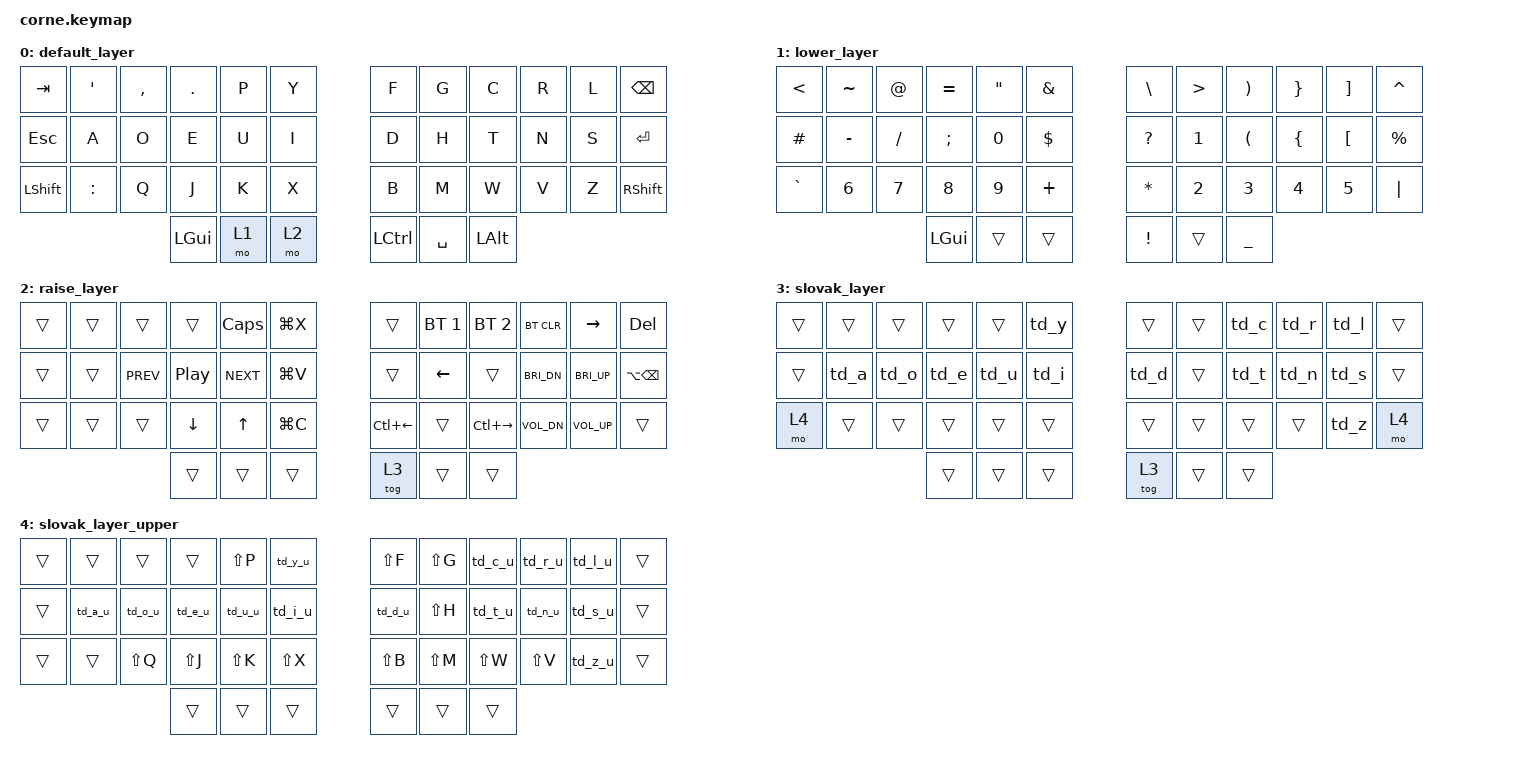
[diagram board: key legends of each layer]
#include <behaviors.dtsi>
#include <dt-bindings/zmk/keys.h>
#include <dt-bindings/zmk/bt.h>

/ {
    macros {
        dia_a: dia_a {
            label = "dia_a";
            compatible = "zmk,behavior-macro";
            #binding-cells = <0>;
            wait-ms = <1>;
            tap-ms = <1>;
            bindings
                = <&macro_press &kp RALT>
                , <&macro_tap &kp SQT>
                , <&macro_release &kp RALT>
                , <&macro_tap &kp A>
                ;
        };
        dia_a_u: dia_a_u {
            label = "dia_a_u";
            compatible = "zmk,behavior-macro";
            #binding-cells = <0>;
            wait-ms = <1>;
            tap-ms = <1>;
            bindings
                = <&macro_press &kp RALT>
                , <&macro_tap &kp SQT>
                , <&macro_release &kp RALT>
                , <&macro_tap &kp LS(A)>
                ;
        };
        dia_o: dia_o {
            label = "dia_o";
            compatible = "zmk,behavior-macro";
            #binding-cells = <0>;
            wait-ms = <1>;
            tap-ms = <1>;
            bindings
                = <&macro_press &kp RALT>
                , <&macro_tap &kp SQT>
                , <&macro_release &kp RALT>
                , <&macro_tap &kp O>
                ;
        };
        dia_o_u: dia_o_u {
            label = "dia_o_u";
            compatible = "zmk,behavior-macro";
            #binding-cells = <0>;
            wait-ms = <1>;
            tap-ms = <1>;
            bindings
                = <&macro_press &kp RALT>
                , <&macro_tap &kp SQT>
                , <&macro_release &kp RALT>
                , <&macro_tap &kp LS(O)>
                ;
        };
        dia_e: dia_e {
            label = "dia_e";
            compatible = "zmk,behavior-macro";
            #binding-cells = <0>;
            wait-ms = <1>;
            tap-ms = <1>;
            bindings
                = <&macro_press &kp RALT>
                , <&macro_tap &kp SQT>
                , <&macro_release &kp RALT>
                , <&macro_tap &kp E>
                ;
        };
        dia_e_u: dia_e_u {
            label = "dia_e_u";
            compatible = "zmk,behavior-macro";
            #binding-cells = <0>;
            wait-ms = <1>;
            tap-ms = <1>;
            bindings
                = <&macro_press &kp RALT>
                , <&macro_tap &kp SQT>
                , <&macro_release &kp RALT>
                , <&macro_tap &kp LS(E)>
                ;
        };
        dia_u: dia_u {
            label = "dia_u";
            compatible = "zmk,behavior-macro";
            #binding-cells = <0>;
            wait-ms = <1>;
            tap-ms = <1>;
            bindings
                = <&macro_press &kp RALT>
                , <&macro_tap &kp SQT>
                , <&macro_release &kp RALT>
                , <&macro_tap &kp U>
                ;
        };
        dia_u_u: dia_u_u {
            label = "dia_u_u";
            compatible = "zmk,behavior-macro";
            #binding-cells = <0>;
            wait-ms = <1>;
            tap-ms = <1>;
            bindings
                = <&macro_press &kp RALT>
                , <&macro_tap &kp SQT>
                , <&macro_release &kp RALT>
                , <&macro_tap &kp LS(U)>
                ;
        };
        dia_i: dia_i {
            label = "dia_i";
            compatible = "zmk,behavior-macro";
            #binding-cells = <0>;
            wait-ms = <1>;
            tap-ms = <1>;
            bindings
                = <&macro_press &kp RALT>
                , <&macro_tap &kp SQT>
                , <&macro_release &kp RALT>
                , <&macro_tap &kp I>
                ;
        };
        dia_i_u: dia_i_u {
            label = "dia_i_u";
            compatible = "zmk,behavior-macro";
            #binding-cells = <0>;
            wait-ms = <1>;
            tap-ms = <1>;
            bindings
                = <&macro_press &kp RALT>
                , <&macro_tap &kp SQT>
                , <&macro_release &kp RALT>
                , <&macro_tap &kp LS(I)>
                ;
        };
        dia_y: dia_y {
            label = "dia_y";
            compatible = "zmk,behavior-macro";
            #binding-cells = <0>;
            wait-ms = <1>;
            tap-ms = <1>;
            bindings
                = <&macro_press &kp RALT>
                , <&macro_tap &kp SQT>
                , <&macro_release &kp RALT>
                , <&macro_tap &kp Y>
                ;
        };
        dia_y_u: dia_y_u {
            label = "dia_y_u";
            compatible = "zmk,behavior-macro";
            #binding-cells = <0>;
            wait-ms = <1>;
            tap-ms = <1>;
            bindings
                = <&macro_press &kp RALT>
                , <&macro_tap &kp SQT>
                , <&macro_release &kp RALT>
                , <&macro_tap &kp LS(Y)>
                ;
        };
        dia_d: dia_d {
            label = "dia_d";
            compatible = "zmk,behavior-macro";
            #binding-cells = <0>;
            wait-ms = <1>;
            tap-ms = <1>;
            bindings
                = <&macro_press &kp RALT>
                , <&macro_tap &kp GT>
                , <&macro_release &kp RALT>
                , <&macro_tap &kp D>
                ;
        };
        dia_d_u: dia_d_u {
            label = "dia_d_u";
            compatible = "zmk,behavior-macro";
            #binding-cells = <0>;
            wait-ms = <1>;
            tap-ms = <1>;
            bindings
                = <&macro_press &kp RALT>
                , <&macro_tap &kp GT>
                , <&macro_release &kp RALT>
                , <&macro_tap &kp LS(D)>
                ;
        };
        dia_c: dia_c {
            label = "dia_c";
            compatible = "zmk,behavior-macro";
            #binding-cells = <0>;
            wait-ms = <1>;
            tap-ms = <1>;
            bindings
                = <&macro_press &kp RALT>
                , <&macro_tap &kp GT>
                , <&macro_release &kp RALT>
                , <&macro_tap &kp C>
                ;
        };
        dia_c_u: dia_c_u {
            label = "dia_c_u";
            compatible = "zmk,behavior-macro";
            #binding-cells = <0>;
            wait-ms = <1>;
            tap-ms = <1>;
            bindings
                = <&macro_press &kp RALT>
                , <&macro_tap &kp GT>
                , <&macro_release &kp RALT>
                , <&macro_tap &kp LS(C)>
                ;
        };
        dia_t: dia_t {
            label = "dia_t";
            compatible = "zmk,behavior-macro";
            #binding-cells = <0>;
            wait-ms = <1>;
            tap-ms = <1>;
            bindings
                = <&macro_press &kp RALT>
                , <&macro_tap &kp GT>
                , <&macro_release &kp RALT>
                , <&macro_tap &kp T>
                ;
        };
        dia_t_u: dia_t_u {
            label = "dia_t_u";
            compatible = "zmk,behavior-macro";
            #binding-cells = <0>;
            wait-ms = <1>;
            tap-ms = <1>;
            bindings
                = <&macro_press &kp RALT>
                , <&macro_tap &kp GT>
                , <&macro_release &kp RALT>
                , <&macro_tap &kp LS(T)>
                ;
        };
        dia_r: dia_r {
            label = "dia_r";
            compatible = "zmk,behavior-macro";
            #binding-cells = <0>;
            wait-ms = <1>;
            tap-ms = <1>;
            bindings
                = <&macro_press &kp RALT>
                , <&macro_tap &kp GT>
                , <&macro_release &kp RALT>
                , <&macro_tap &kp R>
                ;
        };
        dia_r_u: dia_r_u {
            label = "dia_r_u";
            compatible = "zmk,behavior-macro";
            #binding-cells = <0>;
            wait-ms = <1>;
            tap-ms = <1>;
            bindings
                = <&macro_press &kp RALT>
                , <&macro_tap &kp GT>
                , <&macro_release &kp RALT>
                , <&macro_tap &kp LS(R)>
                ;
        };
        dia_n: dia_n {
            label = "dia_n";
            compatible = "zmk,behavior-macro";
            #binding-cells = <0>;
            wait-ms = <1>;
            tap-ms = <1>;
            bindings
                = <&macro_press &kp RALT>
                , <&macro_tap &kp GT>
                , <&macro_release &kp RALT>
                , <&macro_tap &kp N>
                ;
        };
        dia_n_u: dia_n_u {
            label = "dia_n_u";
            compatible = "zmk,behavior-macro";
            #binding-cells = <0>;
            wait-ms = <1>;
            tap-ms = <1>;
            bindings
                = <&macro_press &kp RALT>
                , <&macro_tap &kp GT>
                , <&macro_release &kp RALT>
                , <&macro_tap &kp LS(N)>
                ;
        };
        dia_l: dia_l {
            label = "dia_l";
            compatible = "zmk,behavior-macro";
            #binding-cells = <0>;
            wait-ms = <1>;
            tap-ms = <1>;
            bindings
                = <&macro_press &kp RALT>
                , <&macro_tap &kp GT>
                , <&macro_release &kp RALT>
                , <&macro_tap &kp L>
                ;
        };
        dia_l_u: dia_l_u {
            label = "dia_l_u";
            compatible = "zmk,behavior-macro";
            #binding-cells = <0>;
            wait-ms = <1>;
            tap-ms = <1>;
            bindings
                = <&macro_press &kp RALT>
                , <&macro_tap &kp GT>
                , <&macro_release &kp RALT>
                , <&macro_tap &kp LS(L)>
                ;
        };
        dia_s: dia_s {
            label = "dia_s";
            compatible = "zmk,behavior-macro";
            #binding-cells = <0>;
            wait-ms = <1>;
            tap-ms = <1>;
            bindings
                = <&macro_press &kp RALT>
                , <&macro_tap &kp GT>
                , <&macro_release &kp RALT>
                , <&macro_tap &kp S>
                ;
        };
        dia_s_u: dia_s_u {
            label = "dia_s_u";
            compatible = "zmk,behavior-macro";
            #binding-cells = <0>;
            wait-ms = <1>;
            tap-ms = <1>;
            bindings
                = <&macro_press &kp RALT>
                , <&macro_tap &kp GT>
                , <&macro_release &kp RALT>
                , <&macro_tap &kp LS(S)>
                ;
        };
        dia_z: dia_z {
            label = "dia_z";
            compatible = "zmk,behavior-macro";
            #binding-cells = <0>;
            wait-ms = <1>;
            tap-ms = <1>;
            bindings
                = <&macro_press &kp RALT>
                , <&macro_tap &kp GT>
                , <&macro_release &kp RALT>
                , <&macro_tap &kp Z>
                ;
        };
        dia_z_u: dia_z_u {
            label = "dia_z_u";
            compatible = "zmk,behavior-macro";
            #binding-cells = <0>;
            wait-ms = <1>;
            tap-ms = <1>;
            bindings
                = <&macro_press &kp RALT>
                , <&macro_tap &kp GT>
                , <&macro_release &kp RALT>
                , <&macro_tap &kp LS(Z)>
                ;
        };
    };
    behaviors {
        td_a: td_a {
            compatible = "zmk,behavior-tap-dance";
            label = "td_a";
            #binding-cells = <0>;
            tapping-term-ms = <200>;
            bindings = <&kp A>, <&dia_a>;
        };
        td_a_u: td_a_u {
            compatible = "zmk,behavior-tap-dance";
            label = "td_a_u";
            #binding-cells = <0>;
            tapping-term-ms = <200>;
            bindings = <&kp LS(A)>, <&dia_a_u>;
        };
        td_o: td_o {
            compatible = "zmk,behavior-tap-dance";
            label = "td_o";
            #binding-cells = <0>;
            tapping-term-ms = <200>;
            bindings = <&kp O>, <&dia_o>;
        };
        td_o_u: td_o_u {
            compatible = "zmk,behavior-tap-dance";
            label = "td_o_u";
            #binding-cells = <0>;
            tapping-term-ms = <200>;
            bindings = <&kp LS(O)>, <&dia_o_u>;
        };
        td_e: td_e {
            compatible = "zmk,behavior-tap-dance";
            label = "td_e";
            #binding-cells = <0>;
            tapping-term-ms = <200>;
            bindings = <&kp E>, <&dia_e>;
        };
        td_e_u: td_e_u {
            compatible = "zmk,behavior-tap-dance";
            label = "td_e_u";
            #binding-cells = <0>;
            tapping-term-ms = <200>;
            bindings = <&kp LS(E)>, <&dia_e_u>;
        };
        td_u: td_u {
            compatible = "zmk,behavior-tap-dance";
            label = "td_u";
            #binding-cells = <0>;
            tapping-term-ms = <200>;
            bindings = <&kp U>, <&dia_u>;
        };
        td_u_u: td_u_u {
            compatible = "zmk,behavior-tap-dance";
            label = "td_u_u";
            #binding-cells = <0>;
            tapping-term-ms = <200>;
            bindings = <&kp LS(U)>, <&dia_u_u>;
        };
        td_i: td_i {
            compatible = "zmk,behavior-tap-dance";
            label = "td_i";
            #binding-cells = <0>;
            tapping-term-ms = <200>;
            bindings = <&kp I>, <&dia_i>;
        };
        td_i_u: td_i_u {
            compatible = "zmk,behavior-tap-dance";
            label = "td_i_u";
            #binding-cells = <0>;
            tapping-term-ms = <200>;
            bindings = <&kp LS(I)>, <&dia_i_u>;
        };
        td_y: td_y {
            compatible = "zmk,behavior-tap-dance";
            label = "td_y";
            #binding-cells = <0>;
            tapping-term-ms = <200>;
            bindings = <&kp Y>, <&dia_y>;
        };
        td_y_u: td_y_u {
            compatible = "zmk,behavior-tap-dance";
            label = "td_y_u";
            #binding-cells = <0>;
            tapping-term-ms = <200>;
            bindings = <&kp LS(Y)>, <&dia_y_u>;
        };
        td_d: td_d {
            compatible = "zmk,behavior-tap-dance";
            label = "td_d";
            #binding-cells = <0>;
            tapping-term-ms = <200>;
            bindings = <&kp D>, <&dia_d>;
        };
        td_d_u: td_d_u {
            compatible = "zmk,behavior-tap-dance";
            label = "td_d_u";
            #binding-cells = <0>;
            tapping-term-ms = <200>;
            bindings = <&kp LS(D)>, <&dia_d_u>;
        };
        td_c: td_c {
            compatible = "zmk,behavior-tap-dance";
            label = "td_c";
            #binding-cells = <0>;
            tapping-term-ms = <200>;
            bindings = <&kp C>, <&dia_c>;
        };
        td_c_u: td_c_u {
            compatible = "zmk,behavior-tap-dance";
            label = "td_c_u";
            #binding-cells = <0>;
            tapping-term-ms = <200>;
            bindings = <&kp LS(C)>, <&dia_c_u>;
        };
        td_t: td_t {
            compatible = "zmk,behavior-tap-dance";
            label = "td_t";
            #binding-cells = <0>;
            tapping-term-ms = <200>;
            bindings = <&kp T>, <&dia_t>;
        };
        td_t_u: td_t_u {
            compatible = "zmk,behavior-tap-dance";
            label = "td_t_u";
            #binding-cells = <0>;
            tapping-term-ms = <200>;
            bindings = <&kp LS(T)>, <&dia_t_u>;
        };
        td_r: td_r {
            compatible = "zmk,behavior-tap-dance";
            label = "td_r";
            #binding-cells = <0>;
            tapping-term-ms = <200>;
            bindings = <&kp R>, <&dia_r>;
        };
        td_r_u: td_r_u {
            compatible = "zmk,behavior-tap-dance";
            label = "td_r_u";
            #binding-cells = <0>;
            tapping-term-ms = <200>;
            bindings = <&kp LS(R)>, <&dia_r_u>;
        };
        td_n: td_n {
            compatible = "zmk,behavior-tap-dance";
            label = "td_n";
            #binding-cells = <0>;
            tapping-term-ms = <200>;
            bindings = <&kp N>, <&dia_n>;
        };
        td_n_u: td_n_u {
            compatible = "zmk,behavior-tap-dance";
            label = "td_n_u";
            #binding-cells = <0>;
            tapping-term-ms = <200>;
            bindings = <&kp LS(N)>, <&dia_n_u>;
        };
        td_l: td_l {
            compatible = "zmk,behavior-tap-dance";
            label = "td_l";
            #binding-cells = <0>;
            tapping-term-ms = <200>;
            bindings = <&kp L>, <&dia_l>;
        };
        td_l_u: td_l_u {
            compatible = "zmk,behavior-tap-dance";
            label = "td_l_u";
            #binding-cells = <0>;
            tapping-term-ms = <200>;
            bindings = <&kp LS(L)>, <&dia_l_u>;
        };
        td_s: td_s {
            compatible = "zmk,behavior-tap-dance";
            label = "td_s";
            #binding-cells = <0>;
            tapping-term-ms = <200>;
            bindings = <&kp S>, <&dia_s>;
        };
        td_s_u: td_s_u {
            compatible = "zmk,behavior-tap-dance";
            label = "td_s_u";
            #binding-cells = <0>;
            tapping-term-ms = <200>;
            bindings = <&kp LS(S)>, <&dia_s_u>;
        };
        td_z: td_z {
            compatible = "zmk,behavior-tap-dance";
            label = "td_z";
            #binding-cells = <0>;
            tapping-term-ms = <200>;
            bindings = <&kp Z>, <&dia_z>;
        };
        td_z_u: td_z_u {
            compatible = "zmk,behavior-tap-dance";
            label = "td_z_u";
            #binding-cells = <0>;
            tapping-term-ms = <200>;
            bindings = <&kp LS(Z)>, <&dia_z_u>;
        };
    };
        keymap {
                compatible = "zmk,keymap";

                default_layer {
                        bindings = <
   &kp TAB   &kp SQT     &kp COMMA &kp DOT  &kp P &kp Y       &kp F     &kp G     &kp C    &kp R &kp L &kp BSPC
   &kp ESC   &kp A       &kp O     &kp E    &kp U &kp I       &kp D     &kp H     &kp T    &kp N &kp S &kp RET
   &kp LSHFT &kp COLON   &kp Q     &kp J    &kp K &kp X       &kp B     &kp M     &kp W    &kp V &kp Z &kp RSHFT
                                   &kp LGUI &mo 1 &mo 2       &kp LCTRL &kp SPACE &kp LALT
                        >;
                };
                lower_layer {
                        bindings = <
   &kp LT    &kp TILDE &kp AT    &kp EQUAL &kp DQT &kp AMPS       &kp BSLH  &kp GT &kp RPAR &kp RBRC &kp RBKT &kp CARET
   &kp HASH  &kp MINUS &kp SLASH &kp SEMI  &kp N0  &kp DLLR       &kp QMARK &kp N1 &kp LPAR &kp LBRC &kp LBKT &kp PRCNT
   &kp GRAVE &kp N6    &kp N7    &kp N8    &kp N9  &kp PLUS       &kp STAR  &kp N2 &kp N3   &kp N4   &kp N5   &kp PIPE
                          	     &kp LGUI  &trans  &trans         &kp EXCL  &trans &kp UNDER
                        >;
                };

                raise_layer {
                        bindings = <
   &trans &trans &trans     &trans   &kp CAPS   &kp LG(X)       &trans       &bt BT_SEL 1 &bt BT_SEL 2  &bt BT_CLR   &kp RIGHT    &kp DEL
   &trans &trans &kp C_PREV &kp C_PP &kp C_NEXT &kp LG(V)       &trans       &kp LEFT     &trans        &kp C_BRI_DN &kp C_BRI_UP &kp LA(BSPC)
   &trans &trans &trans     &kp DOWN &kp UP     &kp LG(C)       &kp LC(LEFT) &trans       &kp LC(RIGHT) &kp C_VOL_DN &kp C_VOL_UP &trans
                            &trans   &trans     &trans          &tog 3       &trans       &trans
                        >;
                };
                slovak_layer {
                        bindings = <
   &trans &trans &trans &trans &trans &td_y               &trans &trans &td_c  &td_r  &td_l &trans
   &trans &td_a  &td_o  &td_e  &td_u  &td_i               &td_d  &trans &td_t  &td_n  &td_s &trans
   &mo 4  &trans &trans &trans &trans &trans              &trans &trans &trans &trans &td_z &mo 4
                        &trans &trans &trans              &tog 3 &trans &trans
                        >;
                };
                slovak_layer_upper {
                        bindings = <
   &trans &trans  &trans    &trans    &kp LS(P) &td_y_u         &kp LS(F) &kp LS(G) &td_c_u   &td_r_u   &td_l_u &trans
   &trans &td_a_u &td_o_u   &td_e_u   &td_u_u   &td_i_u         &td_d_u   &kp LS(H) &td_t_u   &td_n_u   &td_s_u &trans
   &trans &trans  &kp LS(Q) &kp LS(J) &kp LS(K) &kp LS(X)       &kp LS(B) &kp LS(M) &kp LS(W) &kp LS(V) &td_z_u &trans
                            &trans    &trans    &trans          &trans  &trans &trans
                        >;
                };
        };
};
